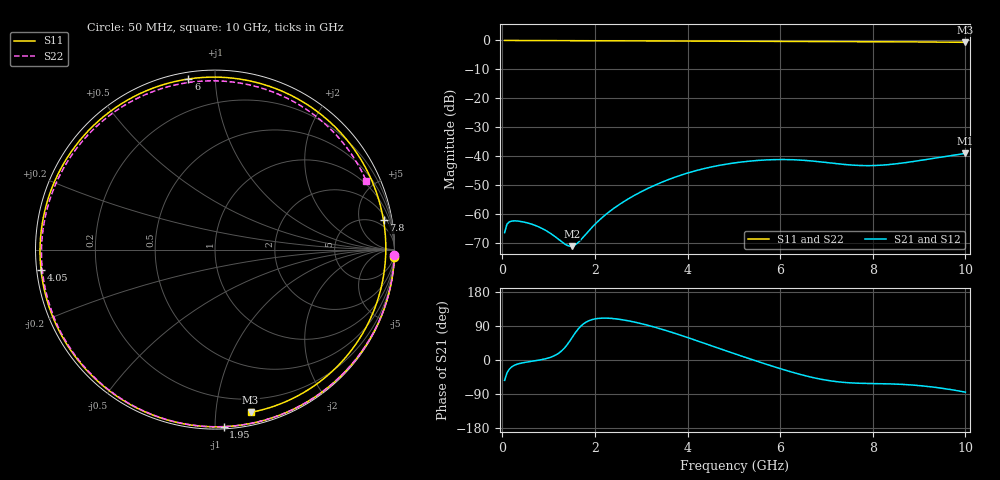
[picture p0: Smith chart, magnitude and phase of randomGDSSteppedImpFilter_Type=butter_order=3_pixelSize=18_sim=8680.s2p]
! freq	dB(S11)	phase(S11)	dB(S12)	phase(S12)
!  dB(S21)	phase(S21)	dB(S22)	phase(S22)
!S-par simulation data
#  GHz  S  DB  R 50
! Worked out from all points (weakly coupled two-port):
!   200 points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, 50 MHz to 10 GHz, reference 50 ohm
!   highest |S21| = -39.12 dB at 10 GHz (marker M1); lowest = -71.3 dB at 1.5 GHz (marker M2)
!   lowest |S11| = -0.6 dB at 10 GHz (marker M3), VSWR 26.93, Z = 4.71 - j61.9 ohm
!   |S11| at or under -10 dB: nowhere
!   |S22| runs from -0.7 to 0.0 dB; largest |S21 - S12| = 0
!   S11 on the Smith chart (normalised r, x): 50 MHz: 0, -49; 1.95 GHz: 0.01, -1.05; 4.05 GHz: 0.01, -0.06; 6 GHz: 0.03, +0.86; 7.8 GHz: 3, +11; 10 GHz: 0.09, -1.24
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0.05  -0.00 -2.3  -66.57 -53.8  -66.57 -53.8  -0.00 -1.6
0.1  -0.00 -4.7  -63.67 -34.3  -63.67 -34.3  -0.00 -3.3
0.15  -0.00 -7.0  -62.87 -24.3  -62.87 -24.3  -0.00 -4.9
0.45  -0.02 -20.9  -62.85 -7.1  -62.85 -7.1  -0.01 -14.7
1  -0.05 -45.9  -66.40 5.5  -66.40 5.5  -0.04 -32.5
1.5  -0.08 -67.9  -71.26 58.0  -71.26 58.0  -0.06 -48.3
1.75  -0.10 -78.7  -68.09 95.1  -68.09 95.1  -0.07 -56.1
1.95  -0.11 -87.2  -64.53 107.0  -64.53 107.0  -0.08 -62.2
2.65  -0.14 -116.3  -55.57 105.0  -55.57 105.0  -0.10 -83.3
3.4  -0.18 -146.8  -49.41 82.8  -49.41 82.8  -0.13 -105.1
4.05  -0.21 -173.4  -45.70 57.3  -45.70 57.3  -0.17 -123.7
4.55  -0.24 165.5  -43.70 36.2  -43.70 36.2  -0.19 -137.9
5.05  -0.28 143.5  -42.34 15.1  -42.34 15.1  -0.22 -152.3
5.55  -0.31 120.5  -41.52 -5.3  -41.52 -5.3  -0.26 -166.9
6  -0.34 98.9  -41.25 -22.7  -41.25 -22.7  -0.30 179.5
6.35  -0.35 81.6  -41.37 -35.3  -41.37 -35.3  -0.33 168.6
6.7  -0.37 64.0  -41.78 -46.1  -41.78 -46.1  -0.36 157.2
7.3  -0.40 34.0  -42.82 -58.2  -42.82 -58.2  -0.42 136.5
7.8  -0.42 9.9  -43.35 -61.7  -43.35 -61.7  -0.47 117.9
8.35  -0.45 -15.1  -43.00 -63.0  -43.00 -63.0  -0.52 96.0
9.15  -0.53 -47.7  -41.24 -69.3  -41.24 -69.3  -0.60 61.9
10  -0.65 -77.7  -39.12 -84.8  -39.12 -84.8  -0.67 24.4
